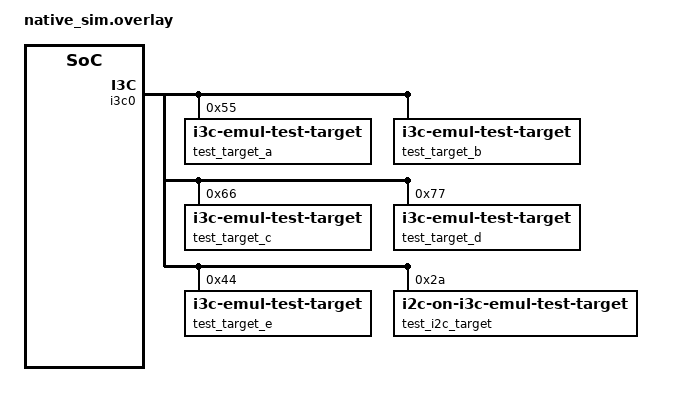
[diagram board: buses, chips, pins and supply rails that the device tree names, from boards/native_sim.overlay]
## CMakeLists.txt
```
# Copyright (c) 2026 Ryan McClelland
# SPDX-License-Identifier: Apache-2.0

cmake_minimum_required(VERSION 3.20.0)
find_package(Zephyr REQUIRED HINTS $ENV{ZEPHYR_BASE})
project(i3c_emul)

target_sources(app PRIVATE
    src/test_core.c
    src/test_ccc.c
    src/test_target_emul.c
    src/i2c_test_target_emul.c
)
target_sources_ifdef(CONFIG_I3C_USE_IBI app PRIVATE src/test_ibi.c)
target_sources_ifdef(CONFIG_I3C_CALLBACK app PRIVATE src/test_async.c)
target_sources_ifdef(CONFIG_I3C_TARGET app PRIVATE src/test_target.c)
target_include_directories(app PRIVATE src)
```

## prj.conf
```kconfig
# Copyright (c) 2026 Ryan McClelland
# SPDX-License-Identifier: Apache-2.0

CONFIG_ZTEST=y
CONFIG_I2C=y
CONFIG_I2C_EMUL=y
CONFIG_I3C=y
CONFIG_I3C_DUAL_ROLE=y
CONFIG_I3C_USE_IBI=y
CONFIG_I3C_IBI_WORKQUEUE=y
CONFIG_I3C_IBI_MAX_PAYLOAD_SIZE=8
CONFIG_I3C_CALLBACK=y
CONFIG_I3C_RTIO=y
CONFIG_I3C_EMUL=y
CONFIG_EMUL=y
CONFIG_RTIO=y
```

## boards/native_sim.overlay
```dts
/*
 * Copyright (c) 2026 Ryan McClelland
 * SPDX-License-Identifier: Apache-2.0
 */

/ {
	i3c0: i3c@600 {
		status = "okay";
		compatible = "zephyr,i3c-emul-controller";
		reg = <0x600 4>;
		#address-cells = <3>;
		#size-cells = <0>;
		i3c-scl-hz = <12500000>;
		i2c-scl-hz = <1000000>;

		test_target_a: target_a@5500001234012345678 {
			compatible = "zephyr,i3c-emul-test-target";
			reg = <0x55 0x1234 0x12345678>;
			bcr = <0x00>;
			dcr = <0x6c>;
		};

		test_target_b: target_b@5678abcdef012 {
			compatible = "zephyr,i3c-emul-test-target";
			reg = <0x00 0x5678 0xABCDEF01>;
			assigned-address = <0x42>;
			bcr = <0x00>;
			dcr = <0x6c>;
		};

		/*
		 * SETAASA-capable target. Has a static_addr and the
		 * supports-setaasa flag, so i3c_bus_init issues SETAASA
		 * (instead of SETDASA) and the peripheral self-assigns
		 * static_addr -> dynamic_addr in response.
		 */
		test_target_c: target_c@660001112223334445 {
			compatible = "zephyr,i3c-emul-test-target";
			reg = <0x66 0x1112 0x22334455>;
			supports-setaasa;
			bcr = <0x00>;
			dcr = <0x6c>;
		};

		/*
		 * HDR-DDR-capable target. BCR bit 5 (Advanced Capabilities)
		 * is set so the controller knows GETCAPS / HDR are supported.
		 * supports-hdr-ddr makes the peripheral advertise the bit in
		 * its GETCAPS Format 1 response and accept HDR-DDR private
		 * xfers (after the controller broadcasts ENTHDR0).
		 */
		test_target_d: target_d@7700009999aaabbccdd {
			compatible = "zephyr,i3c-emul-test-target";
			reg = <0x77 0x9999 0xAABBCCDD>;
			supports-hdr-ddr;
			bcr = <0x20>;
			dcr = <0x6c>;
		};

		/*
		 * Advanced-capabilities target that does NOT support HDR-DDR.
		 * BCR bit 5 is set (so a controller knows GETCAPS is meaningful),
		 * but the GETCAPS response carries no HDR-mode bits. Used to
		 * verify the bus emulator gates HDR-DDR on the cached GETCAPS
		 * bit and not just BCR.
		 */
		test_target_e: target_e@4400001111223344556 {
			compatible = "zephyr,i3c-emul-test-target";
			reg = <0x44 0x1111 0x22334456>;
			bcr = <0x20>;
			dcr = <0x6c>;
		};

		/*
		 * Legacy-I2C-on-I3C peripheral. reg = <addr 0 lvr> per the
		 * i3c subsystem's i2c-device convention; the bus emulator
		 * routes its i2c_api.transfer to this node's standard
		 * struct i2c_emul, same as an i2c sensor emul would under
		 * a zephyr,i2c-emul-controller parent.
		 */
		test_i2c_target: i2c-target@2a000000 {
			compatible = "zephyr,i2c-on-i3c-emul-test-target";
			reg = <0x2A 0x00 0x00>;
		};
	};
};
```

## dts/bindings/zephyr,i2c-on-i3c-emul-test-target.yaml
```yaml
# Copyright (c) 2026 Ryan McClelland
# SPDX-License-Identifier: Apache-2.0

description: |
  Synthetic legacy-I2C peripheral that hangs off a
  zephyr,i3c-emul-controller bus, used to verify the I3C emulator's
  i2c_api.transfer routes to a standard struct i2c_emul peripheral
  the same way an in-tree i2c sensor emul (BMI160, AKM09918C, ...)
  would when reparented under an I3C bus.

  reg follows the i3c subsystem's i2c-device convention:
  reg = <addr 0 lvr>. The middle zero is what
  I3C_I2C_DEVICE_DESC_DT_FILTERED looks at to flag this as a legacy
  I2C device.

compatible: "zephyr,i2c-on-i3c-emul-test-target"

include: i2c-device.yaml
```

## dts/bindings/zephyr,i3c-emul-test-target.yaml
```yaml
# Copyright (c) 2026 Ryan McClelland
# SPDX-License-Identifier: Apache-2.0

description: |
  Synthetic I3C peripheral used by tests/drivers/i3c/i3c_emul to exercise the
  Zephyr I3C emulator. The peripheral lives entirely inside the test directory
  and exposes a 32-byte register file plus configurable PID/BCR/DCR.

compatible: "zephyr,i3c-emul-test-target"

include: i3c-device.yaml

properties:
  bcr:
    type: int
    default: 0

  dcr:
    type: int
    default: 0

  supports-hdr-ddr:
    type: boolean
    description: |
      The synthetic peripheral advertises HDR-DDR support in its
      GETCAPS Format 1 response and accepts HDR-DDR private xfers.
```

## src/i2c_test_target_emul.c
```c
/*
 * Copyright (c) 2026 Ryan McClelland
 *
 * SPDX-License-Identifier: Apache-2.0
 *
 * Tiny legacy-i2c-on-i3c peripheral emulator. Uses the standard
 * struct i2c_emul_api shape that any in-tree i2c sensor emul (BMI160,
 * AKM09918C, ...) implements. This proves an existing i2c emul sensor
 * can be reparented from a zephyr,i2c-emul-controller to a
 * zephyr,i3c-emul-controller without any sensor-side changes.
 */

#define DT_DRV_COMPAT zephyr_i2c_on_i3c_emul_test_target

#include <zephyr/device.h>
#include <zephyr/drivers/emul.h>
#include <zephyr/drivers/i2c.h>
#include <zephyr/drivers/i2c_emul.h>

#include <string.h>

#include "i2c_test_target_emul.h"

#define I2C_TEST_TARGET_REG_SIZE 16U

struct i2c_test_target_data {
	uint8_t regs[I2C_TEST_TARGET_REG_SIZE];
	uint8_t cursor;
};

static int i2c_test_target_transfer(const struct emul *target, struct i2c_msg *msgs,
				    int num_msgs, int addr)
{
	struct i2c_test_target_data *data = target->data;

	ARG_UNUSED(addr);

	for (int i = 0; i < num_msgs; i++) {
		struct i2c_msg *m = &msgs[i];

		if ((m->flags & I2C_MSG_RW_MASK) == I2C_MSG_READ) {
			for (uint32_t j = 0; j < m->len; j++) {
				m->buf[j] = data->regs[data->cursor];
				data->cursor = (data->cursor + 1U) % I2C_TEST_TARGET_REG_SIZE;
			}
		} else {
			if (m->len == 0U) {
				continue;
			}
			data->cursor = m->buf[0] % I2C_TEST_TARGET_REG_SIZE;
			for (uint32_t j = 1; j < m->len; j++) {
				data->regs[data->cursor] = m->buf[j];
				data->cursor = (data->cursor + 1U) % I2C_TEST_TARGET_REG_SIZE;
			}
		}
	}

	return 0;
}

static const struct i2c_emul_api i2c_test_target_api = {
	.transfer = i2c_test_target_transfer,
};

uint8_t i2c_test_target_get_reg(const struct emul *target, uint8_t idx)
{
	struct i2c_test_target_data *data = target->data;

	return data->regs[idx % I2C_TEST_TARGET_REG_SIZE];
}

static int i2c_test_target_init(const struct emul *target, const struct device *parent)
{
	ARG_UNUSED(target);
	ARG_UNUSED(parent);
	return 0;
}

#define I2C_TEST_TARGET_INIT(n)                                                                    \
	static struct i2c_test_target_data i2c_test_target_data_##n;                               \
	DEVICE_DT_INST_DEFINE(n, NULL, NULL, &i2c_test_target_data_##n, NULL, POST_KERNEL,         \
			      CONFIG_APPLICATION_INIT_PRIORITY, NULL);                             \
	EMUL_DT_INST_DEFINE(n, i2c_test_target_init, &i2c_test_target_data_##n, NULL,              \
			    &i2c_test_target_api, NULL);

DT_INST_FOREACH_STATUS_OKAY(I2C_TEST_TARGET_INIT)
```

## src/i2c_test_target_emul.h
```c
/*
 * Copyright (c) 2026 Ryan McClelland
 *
 * SPDX-License-Identifier: Apache-2.0
 */
#ifndef TEST_DRIVERS_I3C_I3C_EMUL_I2C_TEST_TARGET_EMUL_H_
#define TEST_DRIVERS_I3C_I3C_EMUL_I2C_TEST_TARGET_EMUL_H_

#include <stdint.h>

#include <zephyr/drivers/emul.h>

uint8_t i2c_test_target_get_reg(const struct emul *target, uint8_t idx);

#endif /* TEST_DRIVERS_I3C_I3C_EMUL_I2C_TEST_TARGET_EMUL_H_ */
```

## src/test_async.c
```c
/*
 * Copyright (c) 2026 Ryan McClelland
 *
 * SPDX-License-Identifier: Apache-2.0
 *
 * M4 async + RTIO tests for the I3C emulator.
 */

#include <zephyr/devicetree.h>
#include <zephyr/drivers/emul.h>
#include <zephyr/drivers/i3c.h>
#include <zephyr/drivers/i3c/ccc.h>
#include <zephyr/drivers/i3c_emul.h>
#include <zephyr/kernel.h>
#include <zephyr/rtio/rtio.h>
#include <zephyr/sys/byteorder.h>
#include <zephyr/ztest.h>

#include "test_target_emul.h"

#define I3C_BUS DT_NODELABEL(i3c0)
#define TARGET_A DT_NODELABEL(test_target_a)

#define TARGET_A_PID	TEST_TARGET_A_PID

static const struct device *bus = DEVICE_DT_GET(I3C_BUS);

static struct i3c_device_desc *find_desc(uint64_t pid)
{
	struct i3c_device_id id = { .pid = pid };

	return i3c_device_find(bus, &id);
}

static void *i3c_emul_async_setup(void)
{
	int rc = test_target_bus_known_state(bus, TEST_TARGET_A_PID, TEST_TARGET_A_STATIC,
					     TEST_TARGET_B_PID, TEST_TARGET_B_INIT_DA);

	zassert_ok(rc, "test_target_bus_known_state: %d", rc);
	return NULL;
}

#ifdef CONFIG_I3C_CALLBACK
static struct {
	struct k_sem sem;
	int result;
	void *userdata;
	const struct device *dev;
} g_cb;

static void async_cb(const struct device *dev, int result, void *userdata)
{
	g_cb.dev = dev;
	g_cb.result = result;
	g_cb.userdata = userdata;
	k_sem_give(&g_cb.sem);
}

ZTEST(i3c_emul_async, test_xfers_cb_fires_on_completion)
{
	struct i3c_device_desc *desc = find_desc(TARGET_A_PID);
	uint8_t buf[3] = {0x00, 0xAB, 0xCD};
	struct i3c_msg msg = {
		.buf = buf,
		.len = sizeof(buf),
		.flags = I3C_MSG_WRITE | I3C_MSG_STOP,
	};
	int marker = 0xDEADBEEF;
	int rc;

	k_sem_init(&g_cb.sem, 0, 1);

	rc = i3c_transfer_cb(desc, &msg, 1, async_cb, &marker);
	zassert_ok(rc, "i3c_transfer_cb: %d", rc);
	zassert_ok(k_sem_take(&g_cb.sem, K_MSEC(100)), "callback semaphore timeout");
	zassert_equal(g_cb.result, 0, "callback result: %d", g_cb.result);
	zassert_equal(g_cb.userdata, &marker, "userdata propagated");
	zassert_equal(g_cb.dev, bus, "callback dev matches bus");

	zassert_equal(test_target_get_reg(EMUL_DT_GET(TARGET_A), 0), buf[1], "reg[0]");
	zassert_equal(test_target_get_reg(EMUL_DT_GET(TARGET_A), 1), buf[2], "reg[1]");
}

ZTEST(i3c_emul_async, test_do_ccc_cb_fires_on_completion)
{
	struct i3c_device_desc *desc = find_desc(TARGET_A_PID);
	struct i3c_ccc_target_payload tp = {0};
	uint8_t pid_buf[6] = {0};
	struct i3c_ccc_payload payload = {
		.ccc = { .id = I3C_CCC_GETPID },
		.targets = { .payloads = &tp, .num_targets = 1 },
	};
	int rc;

	tp.addr = desc->dynamic_addr;
	tp.rnw = 1;
	tp.data = pid_buf;
	tp.data_len = sizeof(pid_buf);

	k_sem_init(&g_cb.sem, 0, 1);

	rc = i3c_do_ccc_cb(bus, &payload, async_cb, NULL);
	zassert_ok(rc, "i3c_do_ccc_cb: %d", rc);
	zassert_ok(k_sem_take(&g_cb.sem, K_MSEC(100)), "callback timeout");
	zassert_equal(g_cb.result, 0, "callback result: %d", g_cb.result);
	zassert_equal(sys_get_be48(pid_buf), TARGET_A_PID, "PID mismatch");
}
#endif /* CONFIG_I3C_CALLBACK */

#ifdef CONFIG_I3C_RTIO
I3C_DT_IODEV_DEFINE(rtio_iodev, DT_NODELABEL(test_target_a));
RTIO_DEFINE(rtio_ctx, 4, 4);

ZTEST(i3c_emul_async, test_rtio_iodev_submit_round_trip)
{
	uint8_t write_buf[3] = {0x00, 0x55, 0x66};
	struct rtio_sqe *sqe;
	struct rtio_cqe *cqe;
	int rc;

	sqe = rtio_sqe_acquire(&rtio_ctx);
	zassert_not_null(sqe, "sqe alloc");
	rtio_sqe_prep_write(sqe, &rtio_iodev, RTIO_PRIO_NORM, write_buf, sizeof(write_buf), NULL);
	sqe->iodev_flags = RTIO_IODEV_I3C_STOP;

	rc = rtio_submit(&rtio_ctx, 1);
	zassert_ok(rc, "rtio_submit: %d", rc);

	cqe = rtio_cqe_consume_block(&rtio_ctx);
	zassert_not_null(cqe, "cqe");
	zassert_ok(cqe->result, "cqe result: %d", cqe->result);
	rtio_cqe_release(&rtio_ctx, cqe);

	zassert_equal(test_target_get_reg(EMUL_DT_GET(TARGET_A), 0), write_buf[1], "reg[0]");
	zassert_equal(test_target_get_reg(EMUL_DT_GET(TARGET_A), 1), write_buf[2], "reg[1]");
}
#endif /* CONFIG_I3C_RTIO */

ZTEST_SUITE(i3c_emul_async, NULL, i3c_emul_async_setup, NULL, NULL, NULL);
```

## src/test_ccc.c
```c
/*
 * Copyright (c) 2026 Ryan McClelland
 *
 * SPDX-License-Identifier: Apache-2.0
 *
 * M6 CCC coverage tests for the I3C emulator: SETMRL/SETMWL/GETMRL/GETMWL
 * round-trip, GETSTATUS, SETNEWDA, explicit RSTDAA, and DEFTGTS dispatch.
 *
 * The test target peripheral exposes the underlying state via its
 * backend API (test_target_get_mrl, test_target_get_deftgts, ...) so the
 * tests can verify both directions of each CCC.
 */

#include <zephyr/devicetree.h>
#include <zephyr/drivers/emul.h>
#include <zephyr/drivers/i3c.h>
#include <zephyr/drivers/i3c/ccc.h>
#include <zephyr/drivers/i3c_emul.h>
#include <zephyr/kernel.h>
#include <zephyr/sys/byteorder.h>
#include <zephyr/ztest.h>

#include "test_target_emul.h"

#define I3C_BUS DT_NODELABEL(i3c0)
#define TARGET_A DT_NODELABEL(test_target_a)
#define TARGET_B DT_NODELABEL(test_target_b)
#define TARGET_C DT_NODELABEL(test_target_c)
#define TARGET_D DT_NODELABEL(test_target_d)

#define TARGET_A_PID		TEST_TARGET_A_PID
#define TARGET_B_PID		TEST_TARGET_B_PID
#define TARGET_C_PID		TEST_TARGET_C_PID
#define TARGET_D_PID		TEST_TARGET_D_PID

static const struct device *bus = DEVICE_DT_GET(I3C_BUS);
static const struct emul *target_a = EMUL_DT_GET(TARGET_A);
static const struct emul *target_b = EMUL_DT_GET(TARGET_B);
static const struct emul *target_c = EMUL_DT_GET(TARGET_C);

static struct i3c_device_desc *find_desc(uint64_t pid)
{
	struct i3c_device_id id = { .pid = pid };

	return i3c_device_find(bus, &id);
}

static void *ccc_setup(void)
{
	int rc = test_target_bus_known_state(bus, TEST_TARGET_A_PID, TEST_TARGET_A_STATIC,
					     TEST_TARGET_B_PID, TEST_TARGET_B_INIT_DA);

	zassert_ok(rc, "test_target_bus_known_state: %d", rc);
	return NULL;
}

static void ccc_before(void *fixture)
{
	ARG_UNUSED(fixture);

	/* Re-establish the canonical address state so per-test mutations
	 * (RSTDAA, SETNEWDA, ...) don't leak between tests.
	 */
	(void)test_target_bus_known_state(bus, TEST_TARGET_A_PID, TEST_TARGET_A_STATIC,
					  TEST_TARGET_B_PID, TEST_TARGET_B_INIT_DA);
}

ZTEST(i3c_emul_ccc, test_setmwl_getmwl_round_trip)
{
	struct i3c_device_desc *desc = find_desc(TARGET_A_PID);
	struct i3c_ccc_mwl set = { .len = 0x0123 };
	struct i3c_ccc_mwl got = { 0 };
	int rc;

	rc = i3c_ccc_do_setmwl(desc, &set);
	zassert_ok(rc, "SETMWL: %d", rc);
	zassert_equal(test_target_get_mwl(target_a), 0x0123, "peripheral stored MWL");

	rc = i3c_ccc_do_getmwl(desc, &got);
	zassert_ok(rc, "GETMWL: %d", rc);
	zassert_equal(got.len, 0x0123, "GETMWL round-trip");
}

ZTEST(i3c_emul_ccc, test_setmrl_getmrl_round_trip)
{
	struct i3c_device_desc *desc = find_desc(TARGET_A_PID);
	struct i3c_ccc_mrl set = { .len = 0x4567, .ibi_len = 0x08 };
	struct i3c_ccc_mrl got = { 0 };
	int rc;

	/*
	 * GETMRL only requests the ibi_len byte when the peripheral's BCR
	 * advertises IBI payload data. Our DT BCR for target_a is 0x00, so
	 * the controller helper will issue a 2-byte GETMRL and we only
	 * round-trip the length here.
	 */
	rc = i3c_ccc_do_setmrl(desc, &set);
	zassert_ok(rc, "SETMRL: %d", rc);
	zassert_equal(test_target_get_mrl(target_a), 0x4567, "peripheral stored MRL");

	rc = i3c_ccc_do_getmrl(desc, &got);
	zassert_ok(rc, "GETMRL: %d", rc);
	zassert_equal(got.len, 0x4567, "GETMRL round-trip");
}

ZTEST(i3c_emul_ccc, test_setmwl_broadcast_reaches_every_target)
{
	struct i3c_ccc_mwl set = { .len = 0xBEEF };
	int rc;

	rc = i3c_ccc_do_setmwl_all(bus, &set);
	zassert_ok(rc, "broadcast SETMWL: %d", rc);
	zassert_equal(test_target_get_mwl(target_a), 0xBEEF, "A stored MWL");
	zassert_equal(test_target_get_mwl(target_b), 0xBEEF, "B stored MWL");
	zassert_equal(test_target_get_mwl(target_c), 0xBEEF, "C stored MWL");
}

ZTEST(i3c_emul_ccc, test_setmrl_broadcast_reaches_every_target)
{
	struct i3c_ccc_mrl set = { .len = 0xCAFE, .ibi_len = 0x05 };
	int rc;

	rc = i3c_ccc_do_setmrl_all(bus, &set, false);
	zassert_ok(rc, "broadcast SETMRL: %d", rc);
	zassert_equal(test_target_get_mrl(target_a), 0xCAFE, "A stored MRL");
	zassert_equal(test_target_get_mrl(target_b), 0xCAFE, "B stored MRL");
	zassert_equal(test_target_get_mrl(target_c), 0xCAFE, "C stored MRL");
}

ZTEST(i3c_emul_ccc, test_getbcr_returns_dt_configured_value)
{
	struct i3c_device_desc *desc = find_desc(TARGET_A_PID);
	struct i3c_ccc_getbcr got = { 0 };
	int rc;

	zassert_not_null(desc, "target A desc");

	rc = i3c_ccc_do_getbcr(desc, &got);
	zassert_ok(rc, "GETBCR: %d", rc);
	zassert_equal(got.bcr, 0x00, "BCR matches DT (target_a bcr = 0x00)");
}

ZTEST(i3c_emul_ccc, test_getdcr_returns_dt_configured_value)
{
	struct i3c_device_desc *desc = find_desc(TARGET_A_PID);
	struct i3c_ccc_getdcr got = { 0 };
	int rc;

	zassert_not_null(desc, "target A desc");

	rc = i3c_ccc_do_getdcr(desc, &got);
	zassert_ok(rc, "GETDCR: %d", rc);
	zassert_equal(got.dcr, 0x6c, "DCR matches DT (target_a dcr = 0x6c)");
}

ZTEST(i3c_emul_ccc, test_getstatus_returns_poked_value)
{
	struct i3c_device_desc *desc = find_desc(TARGET_A_PID);
	union i3c_ccc_getstatus got = { 0 };
	int rc;

	test_target_set_status_fmt1(target_a, 0xCAFE);

	rc = i3c_ccc_do_getstatus_fmt1(desc, &got);
	zassert_ok(rc, "GETSTATUS: %d", rc);
	zassert_equal(got.fmt1.status, 0xCAFE, "status round-trip");

	test_target_set_status_fmt1(target_a, 0);
}

ZTEST(i3c_emul_ccc, test_setnewda_changes_dynamic_addr)
{
	struct i3c_device_desc *desc = find_desc(TARGET_A_PID);
	const uint8_t new_addr = 0x33;
	int rc;

	rc = i3c_bus_setnewda(desc, new_addr);
	zassert_ok(rc, "SETNEWDA: %d", rc);
	zassert_equal(desc->dynamic_addr, new_addr, "desc dyn addr updated");
	zassert_equal(test_target_get_dynamic_addr(target_a), new_addr,
		      "peripheral mirror updated");

	/* No restore here — the suite's per-test before-hook re-establishes
	 * the canonical address state for whichever test runs next.
	 */
}

ZTEST(i3c_emul_ccc, test_rstdaa_clears_addresses)
{
	struct i3c_device_desc *desc_a = find_desc(TARGET_A_PID);
	struct i3c_device_desc *desc_b = find_desc(TARGET_B_PID);
	int rc;

	zassert_not_equal(desc_a->dynamic_addr, 0U, "precondition: A has dyn addr");
	zassert_not_equal(desc_b->dynamic_addr, 0U, "precondition: B has dyn addr");

	rc = i3c_bus_rstdaa_all(bus);
	zassert_ok(rc, "RSTDAA: %d", rc);

	zassert_equal(desc_a->dynamic_addr, 0U, "A dyn addr cleared");
	zassert_equal(desc_b->dynamic_addr, 0U, "B dyn addr cleared");
	zassert_equal(test_target_get_dynamic_addr(target_a), 0U, "A peripheral mirror cleared");
	zassert_equal(test_target_get_dynamic_addr(target_b), 0U, "B peripheral mirror cleared");

	/* No restore here — the suite's per-test before-hook re-establishes
	 * the canonical address state for whichever test runs next.
	 */
}

ZTEST(i3c_emul_ccc, test_deftgts_broadcast_reaches_peripherals)
{
	int rc;
	uint8_t buf[64];
	size_t n;

	test_target_clear_deftgts(target_a);
	test_target_clear_deftgts(target_b);

	rc = i3c_bus_deftgts(bus);
	zassert_ok(rc, "i3c_bus_deftgts: %d", rc);

	zassert_true(test_target_deftgts_was_seen(target_a), "A saw DEFTGTS");
	zassert_true(test_target_deftgts_was_seen(target_b), "B saw DEFTGTS");

	n = test_target_get_deftgts(target_a, buf, sizeof(buf));
	zassert_true(n > 0U, "DEFTGTS payload non-empty (got %zu)", n);

	/*
	 * Wire layout (drivers/i3c/i3c_common.c::i3c_bus_deftgts builds it,
	 * i3c_ccc_do_deftgts_all sends it as ccc.data):
	 *   buf[0]                  = count of targets
	 *   buf[1..1+sizeof(active_controller)] = active controller descriptor
	 *   then count * sizeof(target descriptor)
	 *
	 * count must be the number of attached I3C + I2C devices on this
	 * bus. The test overlay declares five I3C targets (A, B, C, D, E)
	 * plus one legacy-I2C-on-I3C target, so count is 6.
	 */
	zassert_equal(buf[0], 6U, "DEFTGTS count = num attached, got %u", buf[0]);
}

ZTEST(i3c_emul_ccc, test_setaasa_promotes_only_setaasa_capable_targets)
{
	struct i3c_device_desc *desc_a = find_desc(TARGET_A_PID);
	struct i3c_device_desc *desc_c = find_desc(TARGET_C_PID);
	int rc;

	zassert_not_null(desc_a, "target A desc");
	zassert_not_null(desc_c, "target C desc");

	/*
	 * Spec model:
	 *  - Target A has a static_addr but does NOT advertise supports-setaasa.
	 *    SETAASA must NOT promote it (the peripheral NACKs because the
	 *    framework only treats descs with the supports-setaasa flag as
	 *    SETAASA-capable, but the peripheral check is independent).
	 *  - Target C has static_addr=0x66 AND supports-setaasa. After
	 *    RSTDAA-all + i3c_bus_setaasa(), C's dyn_addr must equal its
	 *    static_addr both in its desc and in the peripheral mirror.
	 */
	rc = i3c_bus_rstdaa_all(bus);
	zassert_ok(rc, "RSTDAA: %d", rc);
	zassert_equal(desc_a->dynamic_addr, 0U, "RSTDAA cleared A");
	zassert_equal(desc_c->dynamic_addr, 0U, "RSTDAA cleared C");

	rc = i3c_bus_setaasa(bus);
	zassert_ok(rc, "SETAASA: %d", rc);

	zassert_equal(desc_c->dynamic_addr, TEST_TARGET_C_STATIC,
		      "C desc promoted by SETAASA");
	zassert_equal(test_target_get_dynamic_addr(target_c), TEST_TARGET_C_STATIC,
		      "C peripheral self-assigned static_addr -> dynamic_addr");

	zassert_equal(desc_a->dynamic_addr, 0U,
		      "A desc not promoted (no supports-setaasa flag)");
	zassert_equal(test_target_get_dynamic_addr(target_a), 0U,
		      "A peripheral did not self-assign");

	/* Per-test before-hook restores the canonical address state. */
}

ZTEST(i3c_emul_ccc, test_getcaps_fmt1_returns_dt_advertised_caps)
{
	struct i3c_device_desc *desc = find_desc(TARGET_D_PID);
	union i3c_ccc_getcaps got = { 0 };
	int rc;

	zassert_not_null(desc, "target D desc");

	/*
	 * GETCAPS Format 1 returns 1-4 bytes of capability flags.
	 * target_d's DT advertises HDR-DDR via supports-hdr-ddr; byte 0
	 * bit 0 must be set in the response.
	 */
	rc = i3c_ccc_do_getcaps(desc, &got, GETCAPS_FORMAT_1, GETCAPS_FORMAT_2_INVALID);
	zassert_ok(rc, "GETCAPS fmt1: %d", rc);
	zassert_true(got.fmt1.getcaps[0] & I3C_CCC_GETCAPS1_HDR_DDR,
		     "target D advertises HDR-DDR in DT");
}

ZTEST_SUITE(i3c_emul_ccc, NULL, ccc_setup, ccc_before, NULL, NULL);
```

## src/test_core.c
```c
/*
 * Copyright (c) 2026 Ryan McClelland
 *
 * SPDX-License-Identifier: Apache-2.0
 *
 * M2 core tests for the I3C emulator: attach, DAA, private xfers, CCCs, and
 * the mock_api fault-injection slot.
 */

#include <zephyr/devicetree.h>
#include <zephyr/drivers/emul.h>
#include <zephyr/drivers/i2c.h>
#include <zephyr/drivers/i3c.h>
#include <zephyr/drivers/i3c/ccc.h>
#include <zephyr/drivers/i3c_emul.h>
#include <zephyr/kernel.h>
#include <zephyr/sys/byteorder.h>
#include <zephyr/ztest.h>

#include "i2c_test_target_emul.h"
#include "test_target_emul.h"

#define I3C_BUS DT_NODELABEL(i3c0)
#define TARGET_A DT_NODELABEL(test_target_a)
#define TARGET_B DT_NODELABEL(test_target_b)
#define TARGET_D DT_NODELABEL(test_target_d)
#define TARGET_E DT_NODELABEL(test_target_e)
#define TARGET_I2C DT_NODELABEL(test_i2c_target)

#define TARGET_A_PID		TEST_TARGET_A_PID
#define TARGET_B_PID		TEST_TARGET_B_PID
#define TARGET_B_INIT_DA	TEST_TARGET_B_INIT_DA
#define TARGET_D_PID		TEST_TARGET_D_PID
#define TARGET_E_PID		TEST_TARGET_E_PID

static const struct device *bus = DEVICE_DT_GET(I3C_BUS);
static const struct emul *target_a = EMUL_DT_GET(TARGET_A);
static const struct emul *target_b = EMUL_DT_GET(TARGET_B);
static const struct emul *target_d = EMUL_DT_GET(TARGET_D);

static struct i3c_device_desc *find_desc(uint64_t pid)
{
	struct i3c_device_id id = { .pid = pid };

	return i3c_device_find(bus, &id);
}

ZTEST(i3c_emul_core, test_attach_and_setdasa_static_to_dynamic)
{
	struct i3c_device_desc *desc = find_desc(TARGET_A_PID);

	zassert_not_null(desc, "device desc for target A must exist");
	zassert_equal(desc->static_addr, TEST_TARGET_A_STATIC,
		      "static addr expected 0x%02x", TEST_TARGET_A_STATIC);
	zassert_equal(desc->dynamic_addr, TEST_TARGET_A_STATIC,
		      "i3c_bus_init should have promoted static addr to dynamic via SETDASA");
	zassert_equal(test_target_get_dynamic_addr(target_a), TEST_TARGET_A_STATIC,
		      "peripheral should know its dynamic addr");
}

ZTEST(i3c_emul_core, test_do_daa_respects_init_dynamic_addr)
{
	struct i3c_device_desc *desc = find_desc(TARGET_B_PID);

	zassert_not_null(desc, "device desc for target B must exist");
	zassert_equal(desc->static_addr, 0x00, "target B has no static addr");
	zassert_equal(desc->dynamic_addr, TARGET_B_INIT_DA,
		      "DAA should honour assigned-address property");
	zassert_equal(test_target_get_dynamic_addr(target_b), TARGET_B_INIT_DA,
		      "peripheral mirror should match");
}

ZTEST(i3c_emul_core, test_xfers_routes_by_dynamic_addr)
{
	struct i3c_device_desc *desc = find_desc(TARGET_A_PID);
	uint8_t write_buf[3] = {0x00, 0xAA, 0xBB};
	uint8_t read_buf[2] = {0};
	int rc;

	zassert_not_null(desc, "desc");

	rc = i3c_write(desc, write_buf, sizeof(write_buf));
	zassert_ok(rc, "i3c_write failed: %d", rc);
	zassert_equal(test_target_get_reg(target_a, 0), write_buf[1], "reg[0] mismatch");
	zassert_equal(test_target_get_reg(target_a, 1), write_buf[2], "reg[1] mismatch");

	uint8_t cursor = 0;

	rc = i3c_write(desc, &cursor, sizeof(cursor));
	zassert_ok(rc, "i3c_write seek failed: %d", rc);
	rc = i3c_read(desc, read_buf, sizeof(read_buf));
	zassert_ok(rc, "i3c_read failed: %d", rc);
	zassert_equal(read_buf[0], write_buf[1], "read[0] mismatch");
	zassert_equal(read_buf[1], write_buf[2], "read[1] mismatch");
}

ZTEST(i3c_emul_core, test_ccc_getpid_round_trip)
{
	struct i3c_device_desc *desc = find_desc(TARGET_A_PID);
	struct i3c_ccc_getpid resp = {0};
	int rc;

	zassert_not_null(desc, "desc");

	rc = i3c_ccc_do_getpid(desc, &resp);
	zassert_ok(rc, "GETPID failed: %d", rc);
	zassert_equal(sys_get_be48(resp.pid), TARGET_A_PID, "PID round-trip mismatch");
}

static int mock_xfers_eio(const struct emul *target, struct i3c_msg *msgs, uint8_t num_msgs)
{
	ARG_UNUSED(target);
	ARG_UNUSED(msgs);
	ARG_UNUSED(num_msgs);
	return -EIO;
}

ZTEST(i3c_emul_core, test_mock_api_returns_eio)
{
	struct i3c_device_desc *desc = find_desc(TARGET_A_PID);
	static struct i3c_emul_api mock = {
		.xfers = mock_xfers_eio,
	};
	uint8_t buf[1] = {0};
	int rc;

	test_target_install_mock(target_a, &mock);

	rc = i3c_write(desc, buf, sizeof(buf));
	zassert_equal(rc, -EIO, "expected mock to return -EIO, got %d", rc);

	test_target_install_mock(target_a, NULL);
}

ZTEST(i3c_emul_core, test_legacy_i2c_on_i3c_routes_via_i2c_api)
{
	const struct emul *i2c_target = EMUL_DT_GET(TARGET_I2C);
	const uint16_t i2c_addr = DT_PROP_BY_IDX(TARGET_I2C, reg, 0);
	uint8_t write_buf[3] = {0x00, 0x77, 0x88};
	uint8_t read_buf[2] = {0};
	uint8_t cursor = 0;
	int rc;

	/*
	 * Drive the bus's i2c_api.transfer at a legacy-i2c-on-i3c address.
	 * The peripheral implements struct i2c_emul_api the same way every
	 * in-tree i2c sensor emul does, so this proves an existing i2c
	 * sensor emul could be reparented under our i3c emul controller
	 * without sensor-side changes.
	 */
	rc = i2c_write(bus, write_buf, sizeof(write_buf), i2c_addr);
	zassert_ok(rc, "i2c_write failed: %d", rc);
	zassert_equal(i2c_test_target_get_reg(i2c_target, 0), write_buf[1], "reg[0]");
	zassert_equal(i2c_test_target_get_reg(i2c_target, 1), write_buf[2], "reg[1]");

	rc = i2c_write(bus, &cursor, sizeof(cursor), i2c_addr);
	zassert_ok(rc, "i2c_write seek: %d", rc);
	rc = i2c_read(bus, read_buf, sizeof(read_buf), i2c_addr);
	zassert_ok(rc, "i2c_read: %d", rc);
	zassert_equal(read_buf[0], write_buf[1], "read[0]");
	zassert_equal(read_buf[1], write_buf[2], "read[1]");
}

/*
 * Helper: broadcast ENTHDR0 to put the bus in HDR-DDR entry mode. There is
 * no framework wrapper for ENTHDR0, so build the CCC payload directly.
 */
static int enthdr0_broadcast(const struct device *bus_dev)
{
	struct i3c_ccc_payload payload = {
		.ccc.id = I3C_CCC_ENTHDR0,
	};

	return i3c_do_ccc(bus_dev, &payload);
}

ZTEST(i3c_emul_core, test_hdr_ddr_xfer_routes_to_hdr_handler)
{
	struct i3c_device_desc *desc = find_desc(TARGET_D_PID);
	uint8_t write_buf[3] = {0x00, 0x77, 0x88};
	struct i3c_msg msg = {
		.buf = write_buf,
		.len = sizeof(write_buf),
		.flags = I3C_MSG_WRITE | I3C_MSG_HDR | I3C_MSG_STOP,
		.hdr_mode = I3C_MSG_HDR_DDR,
		.hdr_cmd_code = 0x12,
	};
	uint32_t before;
	int rc;

	zassert_not_null(desc, "target D desc");

	/*
	 * Per spec, an HDR-DDR private xfer is only legal after the
	 * controller broadcasts ENTHDR0 to put the bus in HDR-DDR entry
	 * mode. Without it, peripherals must reject the xfer.
	 */
	rc = enthdr0_broadcast(bus);
	zassert_ok(rc, "ENTHDR0 broadcast: %d", rc);

	before = test_target_get_hdr_ddr_xfer_count(target_d);
	rc = i3c_transfer(desc, &msg, 1);
	zassert_ok(rc, "i3c_transfer (HDR-DDR after ENTHDR0): %d", rc);
	zassert_equal(test_target_get_hdr_ddr_xfer_count(target_d), before + 1,
		      "peripheral's hdr_ddr_xfers callback should have fired");
}

ZTEST(i3c_emul_core, test_hdr_ddr_xfer_rejected_without_enthdr0)
{
	struct i3c_device_desc *desc = find_desc(TARGET_D_PID);
	uint8_t write_buf[2] = {0x00, 0xAA};
	struct i3c_msg msg = {
		.buf = write_buf,
		.len = sizeof(write_buf),
		.flags = I3C_MSG_WRITE | I3C_MSG_HDR | I3C_MSG_STOP,
		.hdr_mode = I3C_MSG_HDR_DDR,
		.hdr_cmd_code = 0x34,
	};
	uint32_t before;
	int rc;

	zassert_not_null(desc, "target D desc");

	/*
	 * No ENTHDR0 broadcast first. Bus emulator must reject the
	 * HDR-DDR xfer because the bus is still in SDR mode. Counter
	 * must NOT advance.
	 */
	before = test_target_get_hdr_ddr_xfer_count(target_d);
	rc = i3c_transfer(desc, &msg, 1);
	zassert_not_equal(rc, 0,
			  "HDR-DDR xfer without prior ENTHDR0 must be rejected");
	zassert_equal(test_target_get_hdr_ddr_xfer_count(target_d), before,
		      "peripheral's hdr_ddr_xfers callback must not fire");
}

ZTEST(i3c_emul_core, test_hdr_ddr_xfer_rejected_by_non_hdr_capable_target)
{
	struct i3c_device_desc *desc = find_desc(TARGET_A_PID);
	uint8_t write_buf[2] = {0x00, 0xAA};
	struct i3c_msg msg = {
		.buf = write_buf,
		.len = sizeof(write_buf),
		.flags = I3C_MSG_WRITE | I3C_MSG_HDR | I3C_MSG_STOP,
		.hdr_mode = I3C_MSG_HDR_DDR,
		.hdr_cmd_code = 0x12,
	};
	int rc;

	zassert_not_null(desc, "target A desc");

	/*
	 * Even after ENTHDR0, target A doesn't advertise HDR support
	 * (BCR bit 5 = Advanced Capabilities is clear in DT). The
	 * peripheral must reject the HDR-DDR xfer regardless of bus mode.
	 */
	rc = enthdr0_broadcast(bus);
	zassert_ok(rc, "ENTHDR0 broadcast: %d", rc);

	rc = i3c_transfer(desc, &msg, 1);
	zassert_not_equal(rc, 0,
			  "HDR-DDR to a non-HDR-capable target must fail");
}

ZTEST(i3c_emul_core, test_hdr_ddr_xfer_rejected_when_getcaps_lacks_hdr_ddr)
{
	struct i3c_device_desc *desc = find_desc(TARGET_E_PID);
	uint8_t write_buf[2] = {0x00, 0xAA};
	struct i3c_msg msg = {
		.buf = write_buf,
		.len = sizeof(write_buf),
		.flags = I3C_MSG_WRITE | I3C_MSG_HDR | I3C_MSG_STOP,
		.hdr_mode = I3C_MSG_HDR_DDR,
		.hdr_cmd_code = 0x12,
	};
	int rc;

	zassert_not_null(desc, "target E desc");

	/*
	 * Target E has BCR bit 5 set (Advanced Capabilities — controllers
	 * may issue GETCAPS), but no supports-hdr-ddr property. Its GETCAPS
	 * Format 1 response carries no HDR-mode bits. Bus emul must gate
	 * HDR-DDR on the cached GETCAPS bit, not just BCR — otherwise the
	 * BCR-only check above is too coarse and would let HDR-DDR through
	 * to a non-HDR-capable target that just happens to support GETCAPS.
	 */
	rc = enthdr0_broadcast(bus);
	zassert_ok(rc, "ENTHDR0 broadcast: %d", rc);

	rc = i3c_transfer(desc, &msg, 1);
	zassert_not_equal(rc, 0,
			  "HDR-DDR must be rejected when GETCAPS doesn't advertise it");
}

static void *i3c_emul_setup(void)
{
	int rc = test_target_bus_known_state(bus, TARGET_A_PID, TEST_TARGET_A_STATIC,
					     TARGET_B_PID, TARGET_B_INIT_DA);

	zassert_ok(rc, "test_target_bus_known_state: %d", rc);
	return NULL;
}

ZTEST_SUITE(i3c_emul_core, NULL, i3c_emul_setup, NULL, NULL, NULL);
```

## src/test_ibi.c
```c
/*
 * Copyright (c) 2026 Ryan McClelland
 *
 * SPDX-License-Identifier: Apache-2.0
 *
 * M3 IBI tests for the I3C emulator: enable/disable propagation,
 * synchronous and workqueue-based IBI delivery, and HJ/CRR ack gating.
 */

#include <zephyr/devicetree.h>
#include <zephyr/drivers/emul.h>
#include <zephyr/drivers/i3c.h>
#include <zephyr/drivers/i3c/ccc.h>
#include <zephyr/drivers/i3c/ibi.h>
#include <zephyr/drivers/i3c_emul.h>
#include <zephyr/kernel.h>
#include <zephyr/sys/atomic.h>
#include <zephyr/ztest.h>

#include "test_target_emul.h"

#define I3C_BUS DT_NODELABEL(i3c0)
#define TARGET_A DT_NODELABEL(test_target_a)

#define TARGET_A_PID		TEST_TARGET_A_PID

static const struct device *bus = DEVICE_DT_GET(I3C_BUS);
static const struct emul *target_a = EMUL_DT_GET(TARGET_A);

static struct {
	atomic_t calls;
	uint8_t last_payload[CONFIG_I3C_IBI_MAX_PAYLOAD_SIZE];
	uint8_t last_payload_len;
	struct i3c_device_desc *last_target;
	struct k_sem fired;
} g_ibi;

static int test_ibi_cb(struct i3c_device_desc *target, struct i3c_ibi_payload *payload)
{
	atomic_inc(&g_ibi.calls);
	g_ibi.last_target = target;
	if (payload != NULL) {
		g_ibi.last_payload_len = payload->payload_len;
		if (payload->payload_len <= sizeof(g_ibi.last_payload)) {
			memcpy(g_ibi.last_payload, payload->payload, payload->payload_len);
		}
	} else {
		g_ibi.last_payload_len = 0;
	}
	k_sem_give(&g_ibi.fired);
	return 0;
}

static struct i3c_device_desc *find_desc(uint64_t pid)
{
	struct i3c_device_id id = { .pid = pid };

	return i3c_device_find(bus, &id);
}

static void *i3c_emul_ibi_setup(void)
{
	struct i3c_device_desc *desc;
	int rc = test_target_bus_known_state(bus, TEST_TARGET_A_PID, TEST_TARGET_A_STATIC,
					     TEST_TARGET_B_PID, TEST_TARGET_B_INIT_DA);

	zassert_ok(rc, "test_target_bus_known_state: %d", rc);

	desc = find_desc(TARGET_A_PID);
	zassert_not_null(desc, "target A desc");
	desc->ibi_cb = test_ibi_cb;
	k_sem_init(&g_ibi.fired, 0, 1);
	return NULL;
}

static void i3c_emul_ibi_before(void *fixture)
{
	ARG_UNUSED(fixture);
	atomic_set(&g_ibi.calls, 0);
	g_ibi.last_payload_len = 0;
	g_ibi.last_target = NULL;
	memset(g_ibi.last_payload, 0, sizeof(g_ibi.last_payload));
	k_sem_reset(&g_ibi.fired);
	(void)i3c_ibi_hj_response(bus, false);

	/* Re-establish the canonical address state in case a prior test
	 * (RSTDAA, HJ-driven DAA, etc.) left things in a different shape.
	 */
	(void)test_target_bus_known_state(bus, TEST_TARGET_A_PID, TEST_TARGET_A_STATIC,
					  TEST_TARGET_B_PID, TEST_TARGET_B_INIT_DA);

	/* Re-establish the post-bus-init event-mask baseline (only HJ
	 * enabled); a prior test's DISEC/ENEC could have left it skewed.
	 */
	{
		struct i3c_ccc_events ev_all = { .events = I3C_CCC_EVT_ALL };
		struct i3c_ccc_events ev_hj = { .events = I3C_CCC_EVT_HJ };

		(void)i3c_ccc_do_events_all_set(bus, false, &ev_all);
		(void)i3c_ccc_do_events_all_set(bus, true, &ev_hj);
	}
}

ZTEST(i3c_emul_ibi, test_ibi_disabled_drops)
{
	uint8_t payload[] = {0xAA, 0xBB};
	int rc = test_target_trigger_ibi(target_a, payload, sizeof(payload));

	zassert_equal(rc, -ENOTCONN, "expected -ENOTCONN with IBI disabled, got %d", rc);
	zassert_equal(atomic_get(&g_ibi.calls), 0, "callback should not have fired");
}

ZTEST(i3c_emul_ibi, test_ibi_enabled_delivers_payload)
{
	struct i3c_device_desc *desc = find_desc(TARGET_A_PID);
	uint8_t payload[] = {0xDE, 0xAD, 0xBE, 0xEF};
	int rc;

	rc = i3c_ibi_enable(desc);
	zassert_ok(rc, "i3c_ibi_enable: %d", rc);
	zassert_true(test_target_event_enabled(target_a, I3C_CCC_EVT_INTR),
		     "i3c_ibi_enable should ENEC(INTR) on the wire");

	rc = test_target_trigger_ibi(target_a, payload, sizeof(payload));
	zassert_ok(rc, "trigger_ibi: %d", rc);

	/*
	 * Sync mode: the callback fires inline before trigger_ibi returns,
	 * so the sem is already given. Workqueue mode: the IBI is enqueued
	 * and the callback runs from i3c_ibi_workq; pend on the sem until
	 * the callback signals it.
	 */
	zassert_ok(k_sem_take(&g_ibi.fired, K_MSEC(100)),
		   "ibi_cb did not fire within 100ms");

	zassert_equal(atomic_get(&g_ibi.calls), 1, "callback fired once");
	zassert_equal(g_ibi.last_target, desc, "callback target matches");
	zassert_equal(g_ibi.last_payload_len, sizeof(payload), "payload length");
	zassert_mem_equal(g_ibi.last_payload, payload, sizeof(payload), "payload bytes");

	(void)i3c_ibi_disable(desc);
}

ZTEST(i3c_emul_ibi, test_hj_nack)
{
	int rc;

	/*
	 * HJ is only legal when the target has no dynamic address. RSTDAA
	 * to clear it, then assert the controller's NACK preference blocks
	 * the HJ at the bus emulator (target_raise_hj returns -ENOTCONN).
	 * Per-test before-hook restores the canonical address state for
	 * subsequent tests.
	 */
	rc = i3c_bus_rstdaa_all(bus);
	zassert_ok(rc, "rstdaa: %d", rc);

	rc = i3c_ibi_hj_response(bus, false);
	zassert_ok(rc, "hj_response false: %d", rc);

	rc = test_target_trigger_hj(target_a);
	zassert_equal(rc, -ENOTCONN, "expected -ENOTCONN when HJ NACKed, got %d", rc);
	zassert_equal(test_target_get_dynamic_addr(target_a), 0,
		      "NACKed HJ must not give the target a dynamic address");
}

ZTEST(i3c_emul_ibi, test_hj_ack)
{
	int rc;

	/*
	 * Spec model: a target with no dynamic address raises HJ; the
	 * active controller has armed HJ ACK, so it ACKs and runs ENTDAA
	 * (i3c_do_daa) from the IBI workqueue handler. After the workq
	 * drains, the target should have a dynamic address. Per-test
	 * before-hook restores the canonical address state.
	 */
	rc = i3c_bus_rstdaa_all(bus);
	zassert_ok(rc, "rstdaa: %d", rc);
	zassert_equal(test_target_get_dynamic_addr(target_a), 0,
		      "precondition: target A should have no dynamic address");

	rc = i3c_ibi_hj_response(bus, true);
	zassert_ok(rc, "hj_response true: %d", rc);

	rc = test_target_trigger_hj(target_a);
	zassert_ok(rc, "trigger_hj after ACK: %d", rc);

	zassert_true(WAIT_FOR(test_target_get_dynamic_addr(target_a) != 0,
			      USEC_PER_MSEC * 100, k_msleep(1)),
		     "ACKed HJ must trigger DAA and give the target a dynamic address");

	(void)i3c_ibi_hj_response(bus, false);
}

ZTEST(i3c_emul_ibi, test_hj_rejected_when_target_has_da)
{
	int rc;

	/*
	 * Target A enters this test with a dynamic address from the suite
	 * setup. Per spec, HJ is invalid for a device that already has a
	 * DA — the bus emulator must reject it before any controller
	 * preference is even consulted.
	 */
	zassert_not_equal(test_target_get_dynamic_addr(target_a), 0,
			  "precondition: target A should have a dynamic address");

	rc = test_target_trigger_hj(target_a);
	zassert_equal(rc, -EACCES,
		      "HJ from a target with a DA must be rejected, got %d", rc);
}

ZTEST(i3c_emul_ibi, test_crr_nack)
{
	struct i3c_device_desc *desc = find_desc(TARGET_A_PID);
	struct i3c_ccc_events events = { .events = I3C_CCC_EVT_CR };
	int rc;

	zassert_not_null(desc, "target A desc");

	rc = i3c_ccc_do_events_set(desc, true, &events);
	zassert_ok(rc, "ENEC(CR): %d", rc);

	rc = i3c_ibi_crr_response(desc, false);
	zassert_ok(rc, "crr_response false: %d", rc);

	rc = test_target_trigger_crr(target_a);
	zassert_equal(rc, -ENOTCONN, "expected -ENOTCONN when CRR NACKed, got %d", rc);
}

ZTEST(i3c_emul_ibi, test_crr_ack)
{
	struct i3c_device_desc *desc = find_desc(TARGET_A_PID);
	struct i3c_ccc_events events = { .events = I3C_CCC_EVT_CR };
	int rc;

	zassert_not_null(desc, "target A desc");

	rc = i3c_ccc_do_events_set(desc, true, &events);
	zassert_ok(rc, "ENEC(CR): %d", rc);

	rc = i3c_ibi_crr_response(desc, true);
	zassert_ok(rc, "crr_response true: %d", rc);

	rc = test_target_trigger_crr(target_a);
	zassert_ok(rc, "trigger_crr after ACK: %d", rc);

	(void)i3c_ibi_crr_response(desc, false);
}

ZTEST(i3c_emul_ibi, test_disec_hj_blocks_target_from_raising_hj)
{
	struct i3c_ccc_events events = { .events = I3C_CCC_EVT_HJ };
	int rc;

	/*
	 * Bus init broadcast ENEC(HJ), so peripheral baseline is HJ-enabled.
	 * Confirm baseline, then DISEC(HJ) and verify the peripheral itself
	 * refuses to drive HJ even though the controller is armed to ACK.
	 */
	zassert_true(test_target_event_enabled(target_a, I3C_CCC_EVT_HJ),
		     "peripheral baseline: HJ enabled by bus-init ENEC(HJ)");

	rc = i3c_bus_rstdaa_all(bus);
	zassert_ok(rc, "rstdaa: %d", rc);
	rc = i3c_ibi_hj_response(bus, true);
	zassert_ok(rc, "hj_response true: %d", rc);

	rc = i3c_ccc_do_events_all_set(bus, false, &events);
	zassert_ok(rc, "DISEC(HJ): %d", rc);
	zassert_false(test_target_event_enabled(target_a, I3C_CCC_EVT_HJ),
		      "peripheral observed DISEC(HJ)");

	rc = test_target_trigger_hj(target_a);
	zassert_not_equal(rc, 0,
			  "peripheral with HJ disabled must refuse to raise HJ");

	(void)i3c_ibi_hj_response(bus, false);
}

ZTEST(i3c_emul_ibi, test_disec_cr_blocks_target_from_raising_crr)
{
	struct i3c_device_desc *desc = find_desc(TARGET_A_PID);
	struct i3c_ccc_events events = { .events = I3C_CCC_EVT_CR };
	int rc;

	zassert_not_null(desc, "target A desc");

	rc = i3c_ibi_crr_response(desc, true);
	zassert_ok(rc, "crr_response true: %d", rc);

	rc = i3c_ccc_do_events_all_set(bus, false, &events);
	zassert_ok(rc, "DISEC(CR): %d", rc);
	zassert_false(test_target_event_enabled(target_a, I3C_CCC_EVT_CR),
		      "peripheral observed DISEC(CR)");

	rc = test_target_trigger_crr(target_a);
	zassert_not_equal(rc, 0,
			  "peripheral with CR disabled must refuse to raise CRR");

	(void)i3c_ibi_crr_response(desc, false);
}

ZTEST(i3c_emul_ibi, test_disec_intr_blocks_target_from_raising_ibi)
{
	struct i3c_device_desc *desc = find_desc(TARGET_A_PID);
	struct i3c_ccc_events events = { .events = I3C_CCC_EVT_INTR };
	uint8_t payload[] = {0x11, 0x22};
	int rc;

	zassert_not_null(desc, "target A desc");

	rc = i3c_ibi_enable(desc);
	zassert_ok(rc, "i3c_ibi_enable: %d", rc);

	rc = i3c_ccc_do_events_all_set(bus, false, &events);
	zassert_ok(rc, "DISEC(INTR): %d", rc);
	zassert_false(test_target_event_enabled(target_a, I3C_CCC_EVT_INTR),
		      "peripheral observed DISEC(INTR)");

	rc = test_target_trigger_ibi(target_a, payload, sizeof(payload));
	zassert_not_equal(rc, 0,
			  "peripheral with INTR disabled must refuse to raise IBI");

	(void)i3c_ibi_disable(desc);
}

ZTEST(i3c_emul_ibi, test_enec_re_enables_blocked_event)
{
	struct i3c_device_desc *desc = find_desc(TARGET_A_PID);
	struct i3c_ccc_events events = { .events = I3C_CCC_EVT_INTR };
	uint8_t payload[] = {0x33, 0x44};
	int rc;

	zassert_not_null(desc, "target A desc");

	/*
	 * DISEC(INTR), then ENEC(INTR), then a successful trigger proves
	 * the bit-toggle round-trips and the peripheral re-arms.
	 */
	rc = i3c_ibi_enable(desc);
	zassert_ok(rc, "i3c_ibi_enable: %d", rc);

	rc = i3c_ccc_do_events_all_set(bus, false, &events);
	zassert_ok(rc, "DISEC(INTR): %d", rc);
	zassert_false(test_target_event_enabled(target_a, I3C_CCC_EVT_INTR),
		      "INTR cleared by DISEC");

	rc = i3c_ccc_do_events_all_set(bus, true, &events);
	zassert_ok(rc, "ENEC(INTR): %d", rc);
	zassert_true(test_target_event_enabled(target_a, I3C_CCC_EVT_INTR),
		     "INTR re-set by ENEC");

	rc = test_target_trigger_ibi(target_a, payload, sizeof(payload));
	zassert_ok(rc, "trigger_ibi after re-enable: %d", rc);

	(void)i3c_ibi_disable(desc);
}

ZTEST_SUITE(i3c_emul_ibi, NULL, i3c_emul_ibi_setup, i3c_emul_ibi_before, NULL, NULL);
```

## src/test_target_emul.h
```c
/*
 * Copyright (c) 2026 Ryan McClelland
 *
 * SPDX-License-Identifier: Apache-2.0
 */
#ifndef TEST_DRIVERS_I3C_I3C_EMUL_TEST_TARGET_EMUL_H_
#define TEST_DRIVERS_I3C_I3C_EMUL_TEST_TARGET_EMUL_H_

#include <stdint.h>

#include <zephyr/drivers/emul.h>
#include <zephyr/drivers/i3c_emul.h>

/*
 * PIDs and address-assignment defaults for the two test peripherals
 * declared in tests/drivers/i3c/i3c_emul/boards/native_sim.overlay.
 * Used by every test suite to identify and re-establish the bus's
 * canonical address state.
 */
#define TEST_TARGET_A_PID	((uint64_t)0x1234 << 32 | 0x12345678)
#define TEST_TARGET_A_STATIC	0x55
#define TEST_TARGET_B_PID	((uint64_t)0x5678 << 32 | 0xABCDEF01)
#define TEST_TARGET_B_INIT_DA	0x42
#define TEST_TARGET_C_PID	((uint64_t)0x1112 << 32 | 0x22334455)
#define TEST_TARGET_C_STATIC	0x66
#define TEST_TARGET_D_PID	((uint64_t)0x9999 << 32 | 0xAABBCCDD)
#define TEST_TARGET_D_STATIC	0x77
#define TEST_TARGET_E_PID	((uint64_t)0x1111 << 32 | 0x22334456)
#define TEST_TARGET_E_STATIC	0x44

struct test_target_backend_api {
	uint8_t (*get_reg)(const struct emul *target, uint8_t idx);
	void (*set_reg)(const struct emul *target, uint8_t idx, uint8_t value);
	uint8_t (*get_dynamic_addr)(const struct emul *target);
	void (*install_mock)(const struct emul *target, struct i3c_emul_api *mock);
	int (*trigger_ibi)(const struct emul *target, uint8_t *payload, uint8_t len);
	int (*trigger_hj)(const struct emul *target);
	int (*trigger_crr)(const struct emul *target);
	void (*set_status_fmt1)(const struct emul *target, uint16_t status);
	uint16_t (*get_mrl)(const struct emul *target);
	uint16_t (*get_mwl)(const struct emul *target);
	bool (*deftgts_was_seen)(const struct emul *target);
	size_t (*get_deftgts)(const struct emul *target, uint8_t *out, size_t out_len);
	void (*clear_deftgts)(const struct emul *target);
	bool (*event_enabled)(const struct emul *target, uint8_t event_mask);
};

uint8_t test_target_get_reg(const struct emul *target, uint8_t idx);
void test_target_set_reg(const struct emul *target, uint8_t idx, uint8_t value);
uint8_t test_target_get_dynamic_addr(const struct emul *target);
void test_target_install_mock(const struct emul *target, struct i3c_emul_api *mock);
int test_target_trigger_ibi(const struct emul *target, uint8_t *payload, uint8_t len);
int test_target_trigger_hj(const struct emul *target);
int test_target_trigger_crr(const struct emul *target);
void test_target_set_status_fmt1(const struct emul *target, uint16_t status);
uint16_t test_target_get_mrl(const struct emul *target);
uint16_t test_target_get_mwl(const struct emul *target);
bool test_target_deftgts_was_seen(const struct emul *target);
size_t test_target_get_deftgts(const struct emul *target, uint8_t *out, size_t out_len);
void test_target_clear_deftgts(const struct emul *target);

/*
 * Per-event enable state tracked by ENEC/DISEC. event_mask is one of
 * I3C_CCC_EVT_INTR / _CR / _HJ. Returns true if the peripheral is
 * currently allowed to raise that event class.
 */
bool test_target_event_enabled(const struct emul *target, uint8_t event_mask);

/*
 * Number of HDR-DDR private xfers the peripheral has handled. Used to
 * verify the bus emulator dispatches I3C_MSG_HDR | hdr_mode = HDR_DDR
 * messages through hdr_ddr_xfers rather than the SDR xfers path.
 */
uint32_t test_target_get_hdr_ddr_xfer_count(const struct emul *target);

/*
 * Bring the bus back to the canonical address-assignment state every
 * test-suite setup expects:
 *   - target identified by pid_a is reachable at static_a (via SETDASA)
 *   - target identified by pid_b is reachable at init_dyn_b (via DAA)
 *
 * If the bus is already in that state, this is a near-no-op (just
 * confirms via i3c_device_find). Safe to call from any test setup or
 * test body to recover from RSTDAA / SETNEWDA / HJ-driven DAA effects.
 *
 * Returns 0 on success, negative errno on failure.
 */
struct device;
int test_target_bus_known_state(const struct device *bus, uint64_t pid_a, uint8_t static_a,
				uint64_t pid_b, uint8_t init_dyn_b);

#endif /* TEST_DRIVERS_I3C_I3C_EMUL_TEST_TARGET_EMUL_H_ */
```
